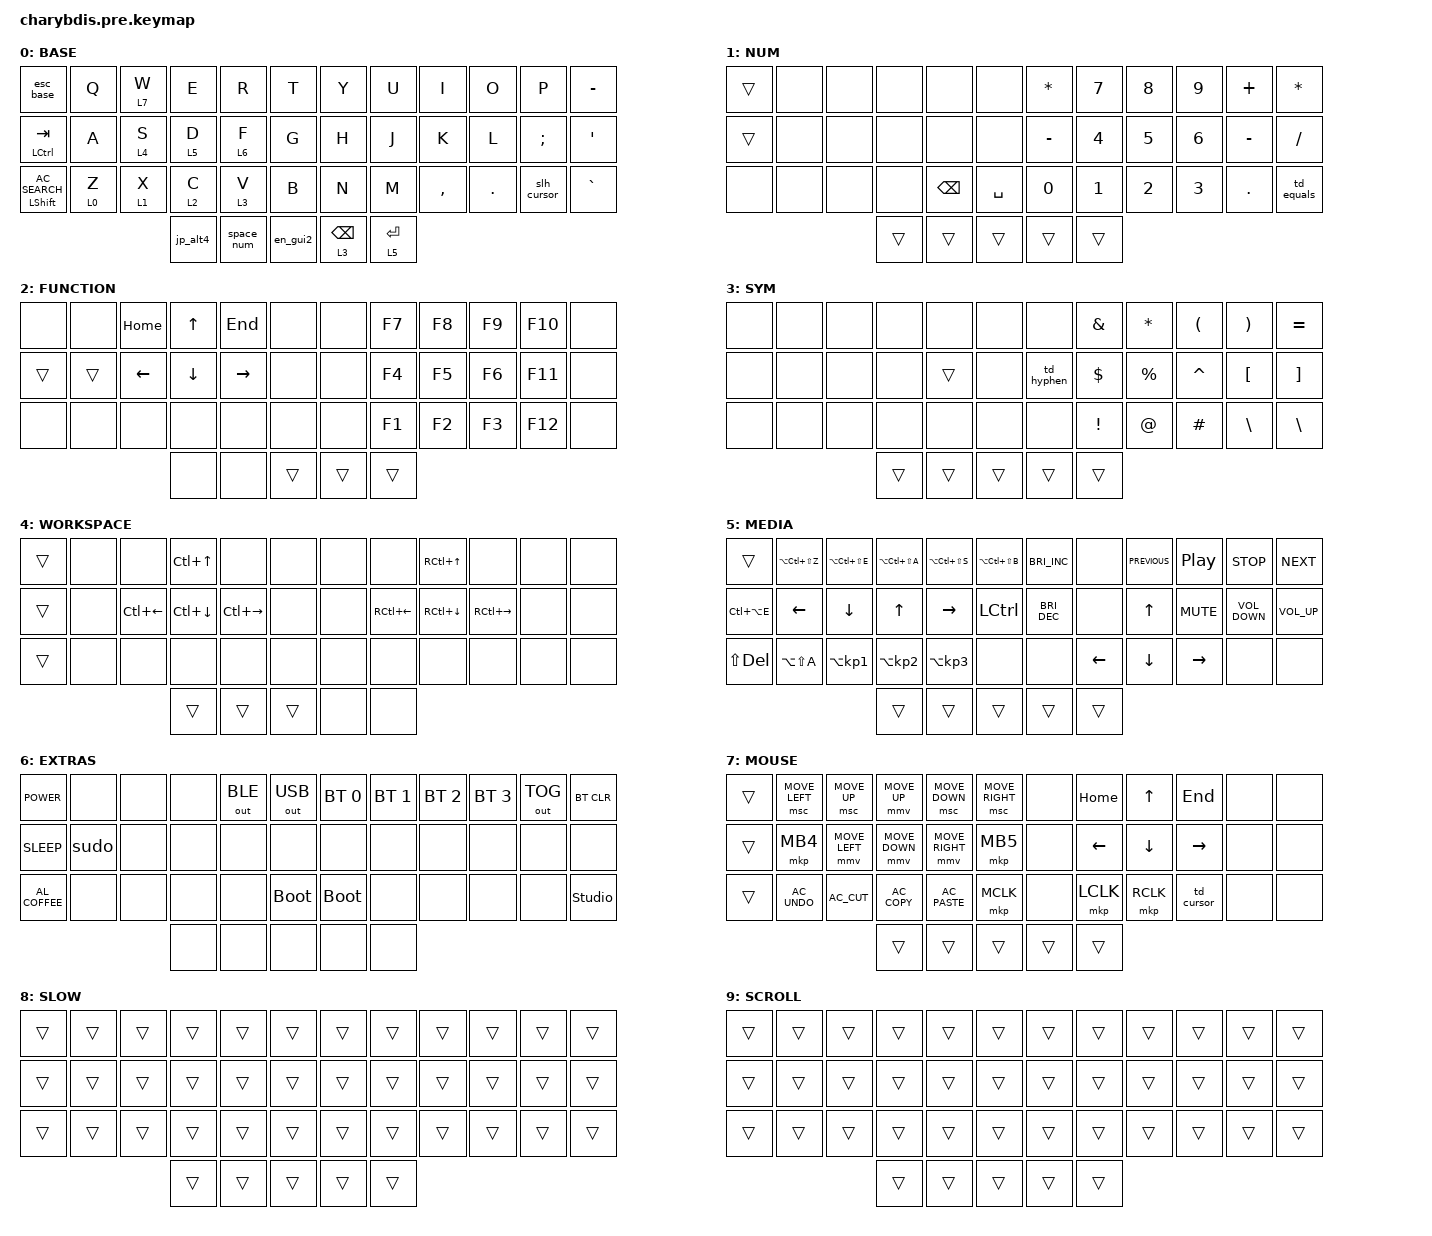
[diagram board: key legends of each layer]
/ {
    behaviors {
        hm: homerow_mod {
            compatible = "zmk,behavior-hold-tap";
            
            flavor = "tap-preferred";
            tapping-term-ms = <175>; // triggers the hold behavior when the tapping-term-ms has expired
            quick-tap-ms = <150>; // If you press a tapped hold-tap again within quick-tap-ms milliseconds of the first press, it will always trigger the tap behavior.
            require-prior-idle-ms = <185>; // like quick-tap-ms however it will apply for any non-modifier key pressed before it
            bindings = <&kp>, <&kp>;  // hold, tap
        };

        hm_right: homerow_mod_right {
            compatible = "zmk,behavior-hold-tap";
            
            flavor = "tap-preferred";
            tapping-term-ms = <130>;
            // quick-tap-ms = <200>;
            // require-prior-idle-ms = <150>;
            bindings = <&kp>, <&kp>;
            hold-trigger-key-positions = <0 1 2 3 4 5 12 13 14 15 16 17 24 25 26 27 28 29 36 37 38>;
        };

        hm_left: homerow_mod_left {
            compatible = "zmk,behavior-hold-tap";
            
            flavor = "tap-preferred";
            tapping-term-ms = <130>;
            // quick-tap-ms = <200>;
            // require-prior-idle-ms = <150>;
            bindings = <&kp>, <&kp>;
            hold-trigger-key-positions = <6 7 8 9 10 11 18 19 20 21 22 23 30 31 32 33 34 35 39 40>;
        };

        td_cursor: td_scroll_or_cursor {
            compatible = "zmk,behavior-tap-dance";
            
            bindings = <&lt 9 ESC>, <&mo 8>; // hold, tap, double_tap
        };

        td_space: td_space {
            compatible = "zmk,behavior-tap-dance";
            
            tapping-term-ms = <85>;
            bindings = <&lt 2 SPACE>, <&kp SPACE>; // hold, tap, double_tap
        };

        td_bs: td_bs {
            compatible = "zmk,behavior-tap-dance";
            
            tapping-term-ms = <85>;
            bindings = <&lt 1 BACKSPACE>, <&kp BACKSPACE>; // hold, tap, double_tap
        };

        httl: ht_two_layers {
            compatible = "zmk,behavior-hold-tap";
            bindings = <&mo>, <&to>;
            
            flavor = "balanced";
            tapping-term-ms = <125>;
        };

        td_layers: td_layer_swap {
            compatible = "zmk,behavior-tap-dance";
            
            bindings = <&to 0>, <&to 5>, <&to 4>; // tap, double_tap, tripple_tap
        };

        td_clk_scrl: td_click_or_scroll {
            compatible = "zmk,behavior-tap-dance";
            
            tapping-term-ms = <250>;
            bindings = <&mkp RCLK>, <&mo 9>;  // tap/hold, double_tap
        };

        td_bore: BASE_or_EXTRA {
            compatible = "zmk,behavior-tap-dance";
            
            bindings = <&mo 6>, <&to 0>;
        };

        td_grave: DoubleTap_Grave {
            compatible = "zmk,behavior-tap-dance";
            
            bindings = <&kp GRAVE>, <&grave_macro>;
        };

        td_hyphen: DoubleTap_Hyphen {
            compatible = "zmk,behavior-tap-dance";
            
            bindings = <&kp MINUS>, <&minus_macro>;
        };

        td_equals: DoubleTap_Equals {
            compatible = "zmk,behavior-tap-dance";
            
            bindings = <&kp EQUAL>, <&equals_macro>;
        };

        td_home: DoubleTap_Home {
            compatible = "zmk,behavior-tap-dance";
            
            bindings = <&kp FSLH>, <&home_macro>;
        };
    };
};


                                                         
/ {
    combos {
        compatible = "zmk,combos";

        CapsWord {
            bindings = <&caps_word>;
            key-positions = <17 18>;
            layers = <0>;
        };

        MiddleClick {
            bindings = <&mkp MCLK>;
            key-positions = <28 37>;
        };

        RightClick {
            bindings = <&mkp RCLK>;
            key-positions = <16 37>;
        };

        RightParen {
            bindings = <&kp RIGHT_PARENTHESIS>;
            key-positions = <20 21>;
            layers = <3>;
        };

        RightBracket {
            bindings = <&kp RIGHT_BRACKET>;
            key-positions = <21 22>;
            layers = <3>;
        };

        RightBrace {
            bindings = <&kp RIGHT_BRACE>;
            key-positions = <8 9>;
            layers = <3>;
        };

        RightGreaterThan {
            bindings = <&kp GREATER_THAN>;
            key-positions = <32 33>;
            layers = <3>;
        };

        BASE_or_EXTRAS {
            bindings = <&td_bore>;
            key-positions = <38 39>;
        };

        // GameLayer {
        //     bindings = <&tog 4>;
        //     key-positions = <8 9>;
        // };
        // PhotoLayer {
        //     bindings = <&tog 5>;
        //     key-positions = <2 3>;
        // };
    };
};


                                                         

/ {
    macros {
        // 前のコマンドをsudoで実行: "sudo !!" + Enter
        sudo: sudo {
            compatible = "zmk,behavior-macro";
            
            wait-ms = <10>;
            tap-ms = <20>;
            bindings =
                <&macro_tap>,
                <&kp S &kp U &kp D &kp O>,
                <&macro_tap>,
                <&kp SPACE>,
                <&macro_tap>,
                <&kp EXCL &kp EXCL>,
                <&macro_tap>,
                <&kp RET>;
        };

        // 貼り付け(Cmd+V)
        clip_hist: clip_hist {
            compatible = "zmk,behavior-macro";
            
            bindings =
                <&macro_press>,
                <&kp LGUI>,
                <&macro_tap>,
                <&kp V>,
                <&macro_release>,
                <&kp LGUI>;
        };

        // 新しいディレクトリ作成 (Ctrl+Shift+N)
        new_dir: new_dir {
            compatible = "zmk,behavior-macro";
            
            bindings =
                <&macro_press>,
                <&kp LCTRL &kp LSHFT>,
                <&macro_tap>,
                <&kp N>,
                <&macro_release>,
                <&kp LCTRL &kp LSHFT>;
        };

        // バッククォート入力補助: `` + 左矢印（Markdownコードブロック用）
        grave_macro: grave_macro {
            compatible = "zmk,behavior-macro";
            
            bindings =
                <&macro_tap>,
                <&kp GRAVE>,
                <&macro_tap>,
                <&kp GRAVE>,
                <&macro_tap>,
                <&kp LEFT_ARROW>;
        };

        // スペース付きハイフン: " - "（リスト記号、演算子用）
        minus_macro: minus_macro {
            compatible = "zmk,behavior-macro";
            
            bindings =
                <&macro_tap>,
                <&kp SPACE>,
                <&macro_tap>,
                <&kp MINUS>,
                <&macro_tap>,
                <&kp SPACE>;
        };

        // スペース付きイコール: " = "（代入演算子用）
        equals_macro: equals_macro {
            compatible = "zmk,behavior-macro";
            
            bindings =
                <&macro_tap>,
                <&kp SPACE>,
                <&macro_tap>,
                <&kp EQUAL>,
                <&macro_tap>,
                <&kp SPACE>;
        };

        // ホームディレクトリパス: "~/"（ファイルパス入力用）
        home_macro: home_macro {
            compatible = "zmk,behavior-macro";
            
            bindings = <&macro_tap>, <&kp TILDE>, <&macro_tap>, <&kp FSLH>;
        };
    };
};


                                                         

/ {
    behaviors {
        

        

        // ホームローモッド（基本）: キーを押し続けると修飾キー、タップすると通常キー
        hm: homerow_mod {
            compatible = "zmk,behavior-hold-tap";
            
            flavor = "tap-preferred"; // 
            tapping-term-ms = <100>; // この時間以上押し続けると修飾キーとして動作
            quick-tap-ms = <150>; // この時間内に再度タップすると常に通常キーとして動作
            require-prior-idle-ms = <185>; // 前のキーからこの時間以上経過している必要がある
            bindings = <&kp>, <&kp>;

            // hold, tap
        };

        // 右側ホームローモッド: 右側のキーに特化した設定
        // hm_right: homerow_mod_right {
        //     compatible = "zmk,behavior-hold-tap";
        //     #binding-cells = <2>;
        //     flavor = "tap-preferred";
        //     tapping-term-ms = <130>;
        //     // quick-tap-ms = <200>;
        //     // require-prior-idle-ms = <150>;
        //     bindings = <&kp>, <&kp>;
        //     hold-trigger-key-positions = <0 1 2 3 4 5 12 13 14 15 16 17 24 25 26 27 28 29 36 37 38>;
        // };

        // 左側ホームローモッド: 左側のキーに特化した設定
        // hm_left: homerow_mod_left {
        //     compatible = "zmk,behavior-hold-tap";
        //     #binding-cells = <2>;
        //     flavor = "tap-preferred";
        //     tapping-term-ms = <130>;
        //     // quick-tap-ms = <200>;
        //     // require-prior-idle-ms = <150>;
        //     bindings = <&kp>, <&kp>;
        //     hold-trigger-key-positions = <6 7 8 9 10 11 18 19 20 21 22 23 30 31 32 33 34 35 39 40>;
        // };

        // 2レイヤー切り替え: ホールドでモーメンタリ、タップでトグル
        httl: ht_two_layers {
            compatible = "zmk,behavior-hold-tap";
            bindings = <&mo>, <&to>;
            
            flavor = "balanced";
            tapping-term-ms = <125>;
        };

        // スクロール/カーソル切り替え: タップでESC、ホールドでレイヤー9
        // td_cursor: td_scroll_or_cursor {
        //     compatible = "zmk,behavior-tap-dance";
        //     #binding-cells = <0>;
        //     tapping-term-ms = <100>;
        //     bindings = <&mo 9>, <&mo 8>;
        //     // hold, tap, double_tap
        // };

        // // スペースキー拡張: タップでスペース、ホールドでレイヤー2
        // td_space: td_space {
        //     compatible = "zmk,behavior-tap-dance";
        //     #binding-cells = <0>;
        //     tapping-term-ms = <85>;
        //     bindings = <&lt 2 SPACE>, <&kp SPACE>;
        //     // hold, tap, double_tap
        // };

        // // バックスペース拡張: タップでバックスペース、ホールドでレイヤー1
        // td_bs: td_bs {
        //     compatible = "zmk,behavior-tap-dance";
        //     #binding-cells = <0>;
        //     tapping-term-ms = <85>;
        //     bindings = <&lt 1 BACKSPACE>, <&kp BACKSPACE>;
        //     // hold, tap, double_tap
        // };

        // レイヤー切り替え: タップでレイヤー0、ダブルタップでレイヤー5、トリプルタップでレイヤー4
        // td_layers: td_layer_swap {
        //     compatible = "zmk,behavior-tap-dance";
        //     #binding-cells = <0>;
        //     bindings = <&to 0>, <&to 5>, <&to 4>;
        //     // tap, double_tap, tripple_tap
        // };

        // クリック/スクロール切り替え: タップで右クリック、ホールドでレイヤー9
        // td_clk_scrl: td_click_or_scroll {
        //     compatible = "zmk,behavior-tap-dance";
        //     #binding-cells = <0>;
        //     tapping-term-ms = <250>;
        //     bindings = <&mkp RCLK>, <&mo 9>;
        //     // tap/hold, double_tap
        // };

        // ベース/エクストラ切り替え: タップでレイヤー6、ダブルタップでレイヤー0
        td_bore: BASE_or_EXTRA {
            compatible = "zmk,behavior-tap-dance";
            
            bindings = <&mo 6>, <&to 0>;
        };

        
                                                                 
        // バッククォート拡張: タップでバッククォート、ダブルタップでマクロ
        tb_grave: tb_grave { compatible = "zmk,behavior-tap-dance"; #binding-cells = <0>; tapping-term-ms = <150>; bindings =   <&kp GRAVE>,  <&grave_macro>; };
        // ハイフン拡張: タップでハイフン、ダブルタップでスペース付きハイフン
        tb_hyphen: tb_hyphen { compatible = "zmk,behavior-tap-dance"; #binding-cells = <0>; tapping-term-ms = <150>; bindings =  <&kp MINUS>,  <&minus_macro>; };
        // イコール拡張: タップでイコール、ダブルタップでスペース付きイコール
        tb_equals: tb_equals { compatible = "zmk,behavior-tap-dance"; #binding-cells = <0>; tapping-term-ms = <150>; bindings =  <&kp EQUAL>,  <&equals_macro>; };
        // スラッシュ拡張: タップでスラッシュ、ダブルタップでホームディレクトリパス
        tb_home: tb_home { compatible = "zmk,behavior-tap-dance"; #binding-cells = <0>; tapping-term-ms = <150>; bindings =    <&kp FSLH>,   <&home_macro>; };

        // // バッククォート拡張: タップでバッククォート、ダブルタップでマクロ
        // td_grave: DoubleTap_Grave {
        //     compatible = "zmk,behavior-tap-dance";
        //     #binding-cells = <0>;
        //     bindings = <&kp GRAVE>, <&grave_macro>;
        // };

        // // ハイフン拡張: タップでハイフン、ダブルタップでスペース付きハイフン
        // td_hyphen: DoubleTap_Hyphen {
        //     compatible = "zmk,behavior-tap-dance";
        //     #binding-cells = <0>;
        //     bindings = <&kp MINUS>, <&minus_macro>;
        // };

        // // イコール拡張: タップでイコール、ダブルタップでスペース付きイコール
        // td_equals: DoubleTap_Equals {
        //     compatible = "zmk,behavior-tap-dance";
        //     #binding-cells = <0>;
        //     bindings = <&kp EQUAL>, <&equals_macro>;
        // };

        // // スラッシュ拡張: タップでスラッシュ、ダブルタップでホームディレクトリパス
        // td_home: DoubleTap_Home {
        //     compatible = "zmk,behavior-tap-dance";
        //     #binding-cells = <0>;
        //     bindings = <&kp FSLH>, <&home_macro>;
        // };

        
                                                                 
        lt_base: lt_base { 
          compatible = "zmk,behavior-hold-tap";
          #binding-cells = <0>;
          tapping-term-ms = <150>;
          flavor = "balanced";
          bindings = <&to    0>, <&mo    0>;
        };

        lt_num: lt_num { compatible = "zmk,behavior-hold-tap";
          #binding-cells = <0>;
          tapping-term-ms = <150>;
          flavor = "balanced";
          bindings = <&to     1>, <&mo     1>;
        };

        lt_mouse: lt_mouse { compatible = "zmk,behavior-hold-tap";
        #binding-cells = <0>;
        tapping-term-ms = <150>;
        flavor = "balanced";
        bindings = <&to   7>, <&mo   7>;
        };


        jp_alt4: jp_alt4 { compatible = "zmk,behavior-tap-dance";
        #binding-cells = <0>;
        tapping-term-ms = <150>;
        bindings =     <&hm LEFT_ALT LANG1>,  <&httl 4 4>;
        };

        // 英語GUI2
        en_gui2: en_gui2 { compatible = "zmk,behavior-tap-dance";
        #binding-cells = <0>;
        tapping-term-ms = <150>;
        bindings =     <&hm LEFT_GUI LANG2>,  <&httl 2 2>;
        };

        // 英語GUI2
        esc_base: esc_base { compatible = "zmk,behavior-tap-dance";
        #binding-cells = <0>;
        tapping-term-ms = <150>;
        bindings =    <&lt 6 ESC>,           <&lt_base>;
        };

        // ESC
        space_num: space_num { compatible = "zmk,behavior-tap-dance";
        #binding-cells = <0>;
        tapping-term-ms = <150>;
        bindings =   <&lt 1 SPACE>,         <&lt_num>;
        };

        // スペース1
        slh_cursor: slh_cursor { compatible = "zmk,behavior-tap-dance";
        #binding-cells = <0>;
        tapping-term-ms = <150>;
        bindings =  <&lt 7 FSLH>,          <&lt_mouse>;
        };

 // スラッシュ/マウス
    };
};


                                                         

/ {
    
    trackball_listener {
        compatible = "zmk,input-behavior-listener";
        device = <&vtrackball>;
        layers = <0 2 7>;
        evt-type = <INPUT_EV_REL>;
        x-input-code = <INPUT_REL_X>;
        y-input-code = <INPUT_REL_Y>;

        // マウスの速度設定 multiplier/divisor
        // scale-multiplier = <4>;
        scale-multiplier = <3>;
        scale-divisor = <6>;
    };

    
    trackball_snipe_listener {
        compatible = "zmk,input-behavior-listener";
        device = <&vtrackball>;
        layers = <8>;
        evt-type = <INPUT_EV_REL>;
        x-input-code = <INPUT_REL_X>;
        y-input-code = <INPUT_REL_Y>;

        // マウスの速度設定 multiplier/divisor
        scale-multiplier = <1>;
        scale-divisor = <6>;
    };

    
    trackball_scroll_listener {
        compatible = "zmk,input-behavior-listener";
        device = <&vtrackball>;
        layers = <9>;
        evt-type = <INPUT_EV_REL>;
        x-input-code = <INPUT_REL_MISC>;
        y-input-code = <INPUT_REL_WHEEL>;
        // y-invert; // 縦スクロールの方向を反転
        // bindings = <&ib_wheel_scaler 1 14>;
        bindings = <&ib_wheel_scaler 1 64>;
    };

    
    
    ib_wheel_scaler: ib_wheel_scaler {
        compatible = "zmk,input-behavior-scaler";
        
        evt-type = <INPUT_EV_REL>;
        input-code = <INPUT_REL_WHEEL>;
    };

    
    
    ib_toggle_layer: ib_toggle_layer {
        compatible = "zmk,input-behavior-tog-layer";
        
        time-to-live-ms = <750>;
    };

    // ╭──────┬──────┬──────┬──────┬──────┬──────╮  ╭──────┬──────┬──────┬──────┬──────┬──────╮
    //    00     01     02     03    04      05        06     07     08     09     10     11
    // ├──────┼──────┼──────┼──────┼──────┼──────┤  ├──────┼──────┼──────┼──────┼──────┼──────┤
    //    12     13     14     15    16      17        18     19     20     21     22     23
    // ├──────┼──────┼──────┼──────┼──────┼──────┤  ├──────┼──────┼──────┼──────┼──────┼──────┤
    //    24     25     26     27    28      29        30     31     32     33     34     35
    // ╰──────┴──────┴──────┼──────┼──────┼──────┤  ├──────┼──────┼──────┴──────┴──────┴──────╯
    //                         36     37     38        39     40
    //                      ╰──────┴──────┴──────╯  ╰──────┴──────╯
    // #define BASE      0
    // #define NUM       1
    // #define FUNCTION  2
    // #define SYM       3
    // #define WORKSPACE 4
    // #define MEDIA     5
    // #define EXTRAS    6
    // #define MOUSE     7
    // #define SLOW      8
    // #define SCROLL    9

    keymap {
        compatible = "zmk,keymap";

        BASE {
            bindings = <
&esc_base                   &kp Q    &lt 7 W  &kp E     &kp R       &kp T       &kp Y         &kp U            &kp I      &kp O       &kp P          &kp MINUS
&hm LCTRL TAB               &kp A    &lt 4 S  &lt 5 D   &lt 6 F     &kp G       &kp H         &kp J            &kp K      &kp L       &kp SEMICOLON  &kp APOSTROPHE
&hm LEFT_SHIFT C_AC_SEARCH  &lt 0 Z  &lt 1 X  &lt 2 C   &lt 3 V     &kp B       &kp N         &kp M            &kp COMMA  &kp PERIOD  &slh_cursor   &kp GRAVE
                                              &jp_alt4  &space_num  &en_gui2    &lt 3 BACKSPACE &lt 5 ENTER 
            >;
        };

        NUM {
            bindings = <
&trans  &none  &none  &none   &none          &none        &kp ASTRK    &kp NUMBER_7  &kp NUMBER_8  &kp NUMBER_9  &kp PLUS   &kp ASTRK
&trans  &none  &none  &none   &none          &none        &kp MINUS    &kp NUMBER_4  &kp NUMBER_5  &kp NUMBER_6  &kp MINUS  &kp SLASH
&none   &none  &none  &none   &kp BACKSPACE  &kp SPACE    &kp NUMBER_0 &kp NUMBER_1  &kp NUMBER_2  &kp NUMBER_3  &kp DOT    &td_equals
                      &trans  &trans         &trans       &trans     &trans
            >;
        };

        FUNCTION {
            bindings = <
&none   &none   &kp HOME  &kp UP_ARROW    &kp END    &none     &none   &kp F7  &kp F8  &kp F9  &kp F10  &none
&trans  &trans  &kp LEFT  &kp DOWN_ARROW  &kp RIGHT  &none     &none   &kp F4  &kp F5  &kp F6  &kp F11  &none
&none   &none   &none     &none           &none      &none     &none   &kp F1  &kp F2  &kp F3  &kp F12  &none
                          &none           &none      &trans    &trans  &trans
            >;
        };

        SYM {
            bindings = <
&none  &none  &none  &none   &none   &none     &none       &kp AMPS    &kp ASTERISK  &kp LEFT_PARENTHESIS  &kp RIGHT_PARENTHESIS  &kp EQUAL
&none  &none  &none  &none   &trans  &none     &td_hyphen  &kp DOLLAR  &kp PERCENT   &kp CARET             &kp LEFT_BRACKET       &kp RIGHT_BRACKET
&none  &none  &none  &none   &none   &none     &none       &kp EXCL    &kp AT        &kp HASH              &kp BACKSLASH          &kp BSLH
                     &trans  &trans  &trans    &trans      &trans
            >;
        };

        WORKSPACE {
            bindings = <
&trans  &none  &none         &kp LC(UP)    &none          &none     &none  &none         &kp RC(UP)    &none          &none  &none
&trans  &none  &kp LC(LEFT)  &kp LC(DOWN)  &kp LC(RIGHT)  &none     &none  &kp RC(LEFT)  &kp RC(DOWN)  &kp RC(RIGHT)  &none  &none
&trans  &none  &none         &none         &none          &none     &none  &none         &none         &none          &none  &none
                             &trans        &trans         &trans    &none  &none
            >;
        };

        MEDIA {
            bindings = <
&trans          &kp LA(LC(LS(Z)))  &kp LA(LC(LS(E)))  &kp LA(LC(LS(A)))  &kp LA(LC(LS(S)))  &kp LA(LC(LS(B)))    &kp C_BRIGHTNESS_INC  &none     &kp C_PREVIOUS  &kp C_PLAY_PAUSE  &kp C_STOP         &kp C_NEXT
&kp LC(LA(E))   &kp LEFT           &kp DOWN           &kp UP             &kp RIGHT          &kp LCTRL            &kp C_BRIGHTNESS_DEC  &none     &kp UP_ARROW    &kp K_MUTE        &kp C_VOLUME_DOWN  &kp C_VOLUME_UP
&kp LS(DELETE)  &kp LA(LS(A))      &kp LA(KP_N1)      &kp LA(KP_N2)      &kp LA(KP_N3)      &none                &none                 &kp LEFT  &kp DOWN        &kp RIGHT         &none              &none
                                                      &trans             &trans             &trans               &trans                &trans
            >;
        };

        EXTRAS {
            bindings = <
&kp C_POWER      &none  &none  &none  &out OUT_BLE  &out OUT_USB    &bt BT_SEL 0  &bt BT_SEL 1  &bt BT_SEL 2  &bt BT_SEL 3  &out OUT_TOG  &bt BT_CLR
&kp C_SLEEP      &sudo  &none  &none  &none         &none           &none         &none         &none         &none         &none         &none
&kp C_AL_COFFEE  &none  &none  &none  &none         &bootloader     &bootloader   &none         &none         &none         &none         &studio_unlock
                               &none  &none         &none           &none         &none
            >;
        };

        MOUSE {
            bindings = <
&trans  &msc MOVE_LEFT  &msc MOVE_UP    &mmv MOVE_UP    &msc MOVE_DOWN   &msc MOVE_RIGHT    &none   &kp HOME   &kp UP     &kp END     &none  &none
&trans  &mkp MB4        &mmv MOVE_LEFT  &mmv MOVE_DOWN  &mmv MOVE_RIGHT  &mkp MB5           &none   &kp LEFT   &kp DOWN   &kp RIGHT   &none  &none
&trans  &kp C_AC_UNDO   &kp C_AC_CUT    &kp C_AC_COPY   &kp C_AC_PASTE   &mkp MCLK          &none   &mkp LCLK  &mkp RCLK  &td_cursor  &none  &none
                                        &trans          &trans           &trans             &trans  &trans
            >;
        };

        SLOW {
            bindings = <
&trans  &trans  &trans  &trans  &trans  &trans    &trans  &trans  &trans  &trans  &trans  &trans
&trans  &trans  &trans  &trans  &trans  &trans    &trans  &trans  &trans  &trans  &trans  &trans
&trans  &trans  &trans  &trans  &trans  &trans    &trans  &trans  &trans  &trans  &trans  &trans
                        &trans  &trans  &trans    &trans  &trans
            >;
        };

        SCROLL {
            bindings = <
&trans  &trans  &trans  &trans  &trans  &trans    &trans  &trans  &trans  &trans  &trans  &trans
&trans  &trans  &trans  &trans  &trans  &trans    &trans  &trans  &trans  &trans  &trans  &trans
&trans  &trans  &trans  &trans  &trans  &trans    &trans  &trans  &trans  &trans  &trans  &trans
                        &trans  &trans  &trans    &trans  &trans
            >;
        };
    };
};

